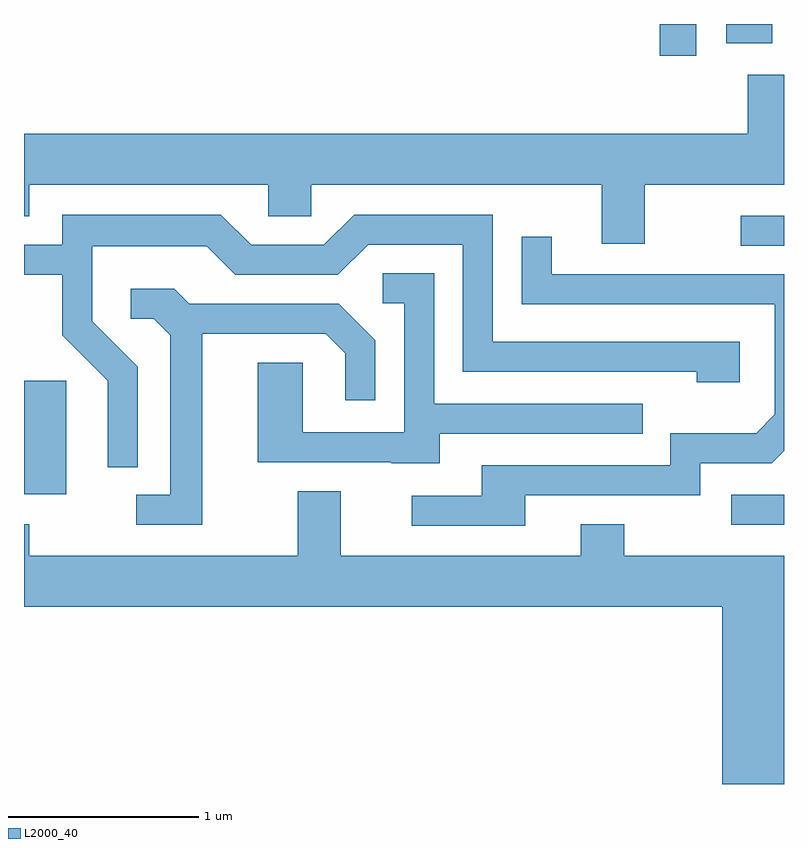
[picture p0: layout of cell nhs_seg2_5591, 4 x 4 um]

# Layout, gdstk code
import gdstk
lib = gdstk.Library(unit=1e-6, precision=1e-09)
def R(c, l, rs):  # rectangles x0, y0, x1, y1
    for r in rs: c.add(gdstk.rectangle(r[:2], r[2:], *l))
def P(c, l, *ps):  # polygons
    for p in ps: c.add(gdstk.Polygon(p, *l))
L2000_40 = (2000, 40)

nhs_seg2_5591 = lib.new_cell('nhs_seg2_5591')
R(nhs_seg2_5591, L2000_40, [(353.333,1073.166,353.611,1073.324), (349.611,1073.326,349.834,1073.924), (353.383,1074.636,353.611,1074.794), (352.956,1075.636,353.149,1075.802), (353.306,1075.701,353.549,1075.802)])
P(nhs_seg2_5591, L2000_40, [(352.879,1074.956),(353.611,1074.956),(353.611,1075.534),(353.421,1075.534),(353.421,1075.224),(349.611,1075.224),(349.611,1074.791),(349.639,1074.791),(349.639,1074.956),(350.896,1074.956),(350.896,1074.791),(351.124,1074.791),(351.124,1074.956),(352.651,1074.956),(352.651,1074.646),(352.879,1074.646)],
  [(350.209,1073.997),(349.969,1074.237),(349.969,1074.631),(350.574,1074.631),(350.724,1074.481),(351.262,1074.481),(351.422,1074.641),(351.921,1074.641),(351.921,1073.971),(353.151,1073.971),(353.151,1073.916),(353.379,1073.916),(353.379,1074.129),(352.079,1074.129),(352.079,1074.799),(351.349,1074.799),(351.189,1074.639),(350.807,1074.639),(350.647,1074.799),(349.811,1074.799),(349.811,1074.639),(349.611,1074.639),(349.611,1074.481),(349.811,1074.481),(349.811,1074.164),(350.051,1073.924),(350.051,1073.468),(350.209,1073.468)],
  [(352.249,1073.321),(353.169,1073.321),(353.169,1073.491),(353.547,1073.491),(353.611,1073.555),(353.611,1074.484),(352.389,1074.484),(352.389,1074.683),(352.231,1074.683),(352.231,1074.326),(353.561,1074.326),(353.561,1073.747),(353.464,1073.649),(353.011,1073.649),(353.011,1073.479),(352.021,1073.479),(352.021,1073.319),(351.653,1073.319),(351.653,1073.161),(352.249,1073.161)],
  [(351.799,1073.646),(352.868,1073.646),(352.868,1073.804),(351.769,1073.804),(351.769,1074.489),(351.498,1074.489),(351.498,1074.331),(351.611,1074.331),(351.611,1073.654),(351.079,1073.654),(351.079,1074.019),(350.841,1074.019),(350.841,1073.496),(351.545,1073.496),(351.545,1073.491),(351.799,1073.491)],
  [(350.549,1074.171),(351.199,1074.171),(351.301,1074.069),(351.301,1073.823),(351.459,1073.823),(351.459,1074.137),(351.267,1074.329),(350.482,1074.329),(350.402,1074.409),(350.173,1074.409),(350.173,1074.251),(350.294,1074.251),(350.381,1074.164),(350.381,1073.324),(350.203,1073.324),(350.203,1073.166),(350.549,1073.166)],
  [(353.611,1073.004),(352.769,1073.004),(352.769,1073.169),(352.541,1073.169),(352.541,1073.004),(351.279,1073.004),(351.279,1073.344),(351.051,1073.344),(351.051,1073.004),(349.639,1073.004),(349.639,1073.169),(349.611,1073.169),(349.611,1072.736),(353.286,1072.736),(353.286,1071.802),(353.611,1071.802)])

lib.write_gds('nhs_seg2_5591.gds')
